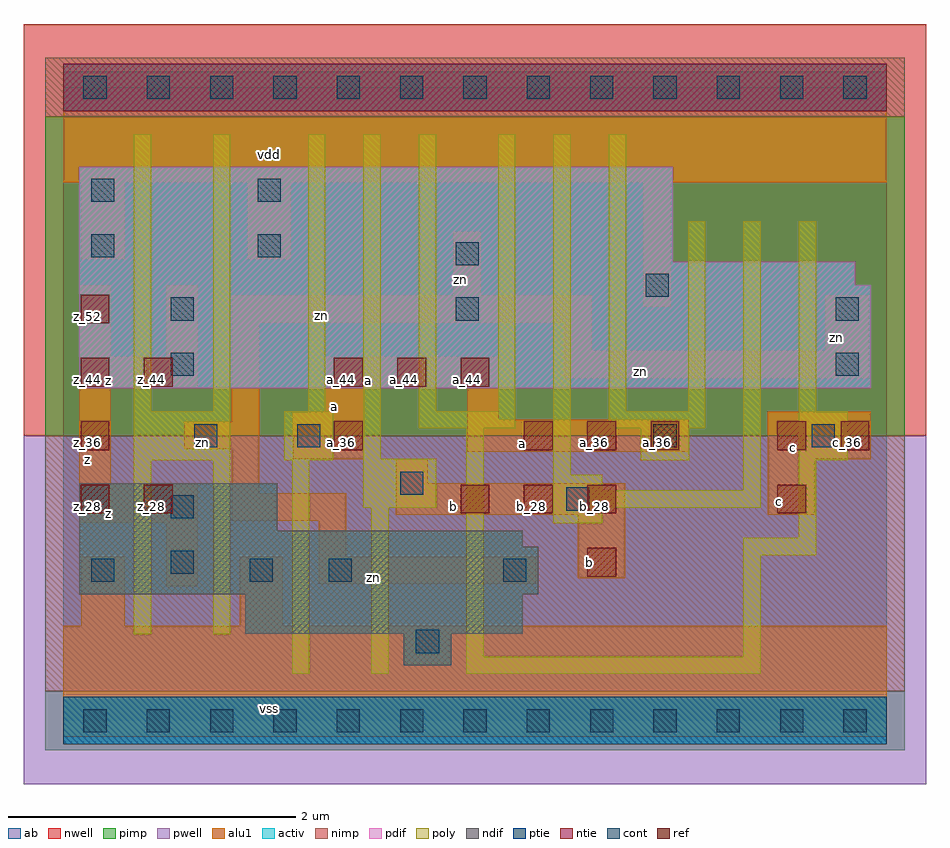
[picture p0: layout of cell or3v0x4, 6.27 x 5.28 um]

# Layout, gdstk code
import gdstk
lib = gdstk.Library(unit=1e-6, precision=2.5e-09)
def R(c, l, rs):  # rectangles x0, y0, x1, y1
    for r in rs: c.add(gdstk.rectangle(r[:2], r[2:], *l))
def A(c, l, x, y, w, h, nx, ny, dx, dy):  # array of equal rectangles
    R(c, l, [(x+i*dx, y+j*dy, x+i*dx+w, y+j*dy+h) for i in range(nx) for j in range(ny)])
ndif = (3, 0)
pdif = (4, 0)
ntie = (5, 0)
ptie = (6, 0)
ref = (24, 0)
cont = (25, 0)
pwell = (41, 0)
nwell = (42, 0)
activ = (43, 0)
pimp = (44, 0)
nimp = (45, 0)
poly = (46, 0)
alu1 = (49, 0)
ab = (63, 0)

or3v0x4 = lib.new_cell('or3v0x4')
R(or3v0x4, ndif, [(2.365,0.385,2.695,0.605), (1.265,0.605,3.19,0.88), (0.11,0.88,3.3,1.21), (0.11,1.21,3.19,1.32), (0.11,1.32,1.485,1.65)])
R(or3v0x4, pdif, [(0.11,2.31,5.61,3.025), (0.11,3.025,5.5,3.19), (0.11,3.19,4.235,3.85)])
R(or3v0x4, ntie, [(0,4.235,5.72,4.565)])
R(or3v0x4, ptie, [(0,-0.165,5.72,0.165)])
A(or3v0x4, ref, 0.12, 1.44, 0.2, 0.2, 1, 4, 0, 0.44)
A(or3v0x4, ref, 2.76, 1.44, 0.2, 0.2, 3, 1, 0.44, 0)
A(or3v0x4, ref, 3.2, 1.88, 0.2, 0.2, 3, 1, 0.44, 0)
A(or3v0x4, ref, 1.88, 2.32, 0.2, 0.2, 3, 1, 0.44, 0)
R(or3v0x4, ref, [(3.64,1,3.84,1.2), (0.56,1.44,0.76,1.64), (4.96,1.44,5.16,1.64), (1.88,1.88,2.08,2.08), (4.96,1.88,5.16,2.08), (5.4,1.88,5.6,2.08), (0.56,2.32,0.76,2.52)])
A(or3v0x4, cont, 0.14, -0.08, 0.16, 0.16, 13, 2, 0.44, 4.4)
R(or3v0x4, cont, [(2.45,0.47,2.61,0.63), (0.195,0.965,0.355,1.125), (1.295,0.965,1.455,1.125), (1.845,0.965,2.005,1.125), (3.055,0.965,3.215,1.125), (0.745,1.02,0.905,1.18), (0.745,1.405,0.905,1.565), (3.495,1.46,3.655,1.62), (2.34,1.57,2.5,1.73), (0.91,1.9,1.07,2.06), (1.625,1.9,1.785,2.06), (4.1,1.9,4.26,2.06), (5.2,1.9,5.36,2.06), (0.745,2.395,0.905,2.555), (5.365,2.395,5.525,2.555), (0.745,2.78,0.905,2.94), (2.725,2.78,2.885,2.94), (5.365,2.78,5.525,2.94), (4.045,2.945,4.205,3.105), (2.725,3.165,2.885,3.325), (0.195,3.22,0.355,3.38), (1.35,3.22,1.51,3.38), (0.195,3.605,0.355,3.765), (1.35,3.605,1.51,3.765)])
R(or3v0x4, pwell, [(-0.275,-0.44,5.995,1.98)])
R(or3v0x4, nwell, [(-0.275,1.98,5.995,4.84)])
R(or3v0x4, activ, [(0,-0.165,5.72,0.165), (2.365,0.385,2.695,0.605), (1.265,0.605,3.19,0.88), (0.11,0.88,3.3,1.21), (0.11,1.21,3.19,1.32), (0.11,1.32,1.485,1.65), (0.11,2.31,5.61,3.025), (0.11,3.025,5.5,3.19), (0.11,3.19,4.235,3.85), (0,4.235,5.72,4.565)])
R(or3v0x4, pimp, [(-0.125,-0.205,5.845,0.205), (-0.125,1.98,5.845,4.195)])
R(or3v0x4, nimp, [(-0.125,0.205,5.845,1.98), (-0.125,4.195,5.845,4.605)])
R(or3v0x4, poly, [(1.59,0.325,1.71,1.81), (2.14,0.325,2.26,1.48), (2.8,0.325,4.845,0.445), (2.8,0.445,2.92,2.03), (4.725,0.445,4.845,1.15), (0.49,0.6,0.61,1.81), (1.04,0.6,1.16,1.81), (4.725,1.15,5.23,1.27), (5.11,1.27,5.23,1.81), (3.405,1.37,3.745,1.48), (2.085,1.48,2.59,1.82), (3.405,1.48,4.845,1.6), (3.405,1.6,3.745,1.71), (4.725,1.6,4.845,3.47), (3.405,1.71,3.525,4.075), (0.49,1.81,1.16,2.15), (1.535,1.81,1.875,2.15), (4.01,1.81,4.35,2.03), (5.11,1.81,5.45,2.15), (2.085,1.82,2.205,4.075), (2.47,2.03,3.14,2.15), (3.79,2.03,4.46,2.15), (0.49,2.15,0.61,4.075), (1.04,2.15,1.16,4.075), (1.7,2.15,1.82,4.075), (2.47,2.15,2.59,4.075), (3.02,2.15,3.14,4.075), (3.79,2.15,3.91,4.075), (4.34,2.15,4.46,3.47), (5.11,2.15,5.23,3.47)])
R(or3v0x4, alu1, [(0,-0.11,5.72,0.66), (0.125,0.66,0.425,1.14), (1.225,0.66,1.525,1.14), (0.715,0.935,0.935,1.375), (1.775,0.95,3.285,1.14), (3.575,0.99,3.905,1.43), (1.775,1.14,1.965,1.39), (0.11,1.375,0.935,1.65), (1.17,1.39,1.965,1.58), (2.31,1.43,3.905,1.65), (4.895,1.43,5.225,1.815), (1.17,1.58,1.36,1.885), (0.11,1.65,0.33,2.31), (2.31,1.65,2.53,1.815), (1.595,1.815,2.09,2.145), (4.895,1.815,5.61,2.145), (2.805,1.87,4.345,2.09), (0.84,1.885,1.36,2.075), (1.17,2.075,1.36,2.765), (2.805,2.09,3.025,2.31), (1.815,2.145,2.09,2.31), (0.11,2.31,0.935,2.53), (1.815,2.31,3.025,2.53), (3.48,2.38,5.595,2.57), (0.11,2.53,0.33,3.025), (0.715,2.53,0.935,3.025), (3.48,2.57,3.67,2.765), (5.295,2.57,5.595,2.955), (1.17,2.765,3.67,2.955), (4.03,2.875,4.22,3.74), (2.71,2.955,2.9,3.395), (0.125,3.205,0.425,3.74), (1.28,3.205,1.58,3.74), (0,3.74,5.72,4.51)])
R(or3v0x4, ab, [(0,0,5.72,4.4)])
or3v0x4.add(gdstk.Label('vss', (1.43,0.0825), layer=49, texttype=0))
or3v0x4.add(gdstk.Label('b', (3.6575,1.1), layer=49, texttype=0))
or3v0x4.add(gdstk.Label('zn', (2.1525,0.9975), layer=49, texttype=0))
or3v0x4.add(gdstk.Label('c', (4.9775,1.525), layer=49, texttype=0))
or3v0x4.add(gdstk.Label('b', (2.7075,1.485), layer=49, texttype=0))
or3v0x4.add(gdstk.Label('c', (5.0725,1.8975), layer=49, texttype=0))
or3v0x4.add(gdstk.Label('a', (3.19,1.925), layer=49, texttype=0))
or3v0x4.add(gdstk.Label('z', (0.315,1.4425), layer=49, texttype=0))
or3v0x4.add(gdstk.Label('zn', (0.97,1.9325), layer=49, texttype=0))
or3v0x4.add(gdstk.Label('a', (1.8825,2.185), layer=49, texttype=0))
or3v0x4.add(gdstk.Label('zn', (4.0075,2.4275), layer=49, texttype=0))
or3v0x4.add(gdstk.Label('a', (2.1175,2.365), layer=49, texttype=0))
or3v0x4.add(gdstk.Label('zn', (5.37,2.665), layer=49, texttype=0))
or3v0x4.add(gdstk.Label('z', (0.165,1.815), layer=49, texttype=0))
or3v0x4.add(gdstk.Label('zn', (1.795,2.8125), layer=49, texttype=0))
or3v0x4.add(gdstk.Label('z', (0.315,2.365), layer=49, texttype=0))
or3v0x4.add(gdstk.Label('zn', (2.7575,3.065), layer=49, texttype=0))
or3v0x4.add(gdstk.Label('vdd', (1.43,3.9325), layer=49, texttype=0))
or3v0x4.add(gdstk.Label('c_36', (5.45,1.93), layer=24, texttype=0))
or3v0x4.add(gdstk.Label('z_28', (0.61,1.49), layer=24, texttype=0))
or3v0x4.add(gdstk.Label('z_44', (0.61,2.37), layer=24, texttype=0))
or3v0x4.add(gdstk.Label('a_36', (1.93,1.93), layer=24, texttype=0))
or3v0x4.add(gdstk.Label('a_44', (1.93,2.37), layer=24, texttype=0))
or3v0x4.add(gdstk.Label('z_28', (0.17,1.49), layer=24, texttype=0))
or3v0x4.add(gdstk.Label('z_36', (0.17,1.93), layer=24, texttype=0))
or3v0x4.add(gdstk.Label('z_44', (0.17,2.37), layer=24, texttype=0))
or3v0x4.add(gdstk.Label('z_52', (0.17,2.81), layer=24, texttype=0))
or3v0x4.add(gdstk.Label('a_44', (2.37,2.37), layer=24, texttype=0))
or3v0x4.add(gdstk.Label('b_28', (2.81,1.49), layer=24, texttype=0))
or3v0x4.add(gdstk.Label('a_44', (2.81,2.37), layer=24, texttype=0))
or3v0x4.add(gdstk.Label('b_28', (3.25,1.49), layer=24, texttype=0))
or3v0x4.add(gdstk.Label('a_36', (3.25,1.93), layer=24, texttype=0))
or3v0x4.add(gdstk.Label('b_20', (3.69,1.05), layer=24, texttype=0))
or3v0x4.add(gdstk.Label('b_28', (3.69,1.49), layer=24, texttype=0))
or3v0x4.add(gdstk.Label('a_36', (3.69,1.93), layer=24, texttype=0))
or3v0x4.add(gdstk.Label('a_36', (4.13,1.93), layer=24, texttype=0))
or3v0x4.add(gdstk.Label('c_28', (5.01,1.49), layer=24, texttype=0))
or3v0x4.add(gdstk.Label('c_36', (5.01,1.93), layer=24, texttype=0))

lib.write_gds('or3v0x4.gds')
